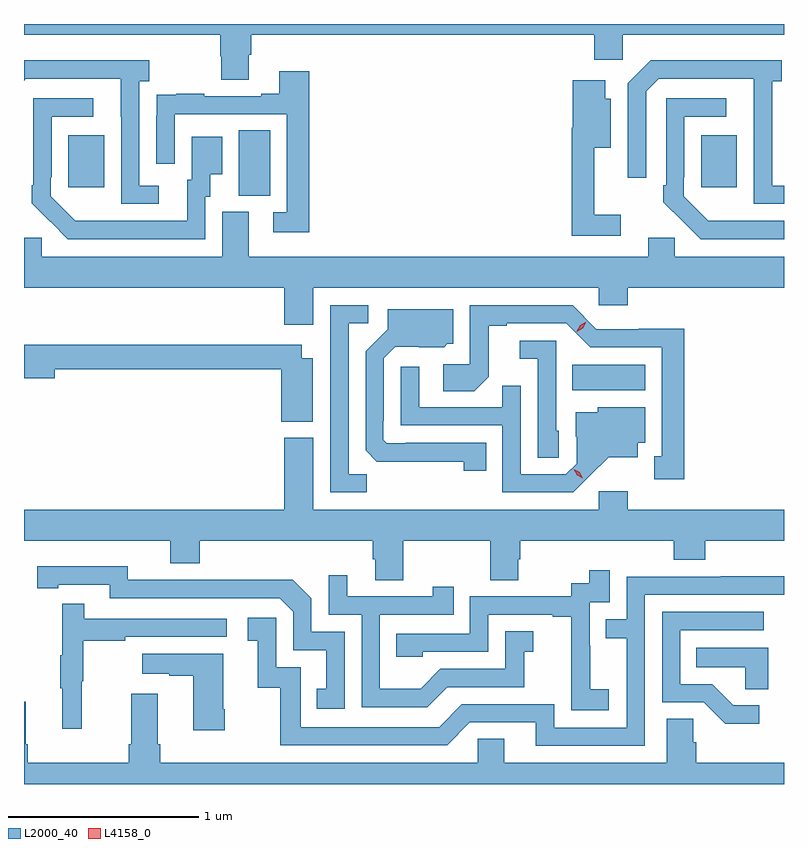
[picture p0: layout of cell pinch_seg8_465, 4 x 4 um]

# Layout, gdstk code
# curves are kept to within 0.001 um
import gdstk
lib = gdstk.Library(unit=1e-6, precision=1e-09)
def R(c, l, rs):  # rectangles x0, y0, x1, y1
    for r in rs: c.add(gdstk.rectangle(r[:2], r[2:], *l))
def P(c, l, *ps):  # polygons
    for p in ps: c.add(gdstk.Polygon(p, *l))
L2000_40 = (2000, 40)
L4158_0 = (4158, 0)

pinch_seg8_465 = lib.new_cell('pinch_seg8_465')
R(pinch_seg8_465, L2000_40, [(115.612,1127.948,115.996,1128.082), (113.858,1128.973,114.022,1129.316), (112.961,1129.017,113.149,1129.291), (116.291,1129.017,116.479,1129.291)])
P(pinch_seg8_465, L2000_40, [(113.911,1129.714),(113.924,1129.714),(113.924,1129.82),(115.727,1129.82),(115.727,1129.689),(115.878,1129.689),(115.878,1129.82),(116.727,1129.82),(116.727,1129.876),(112.727,1129.876),(112.727,1129.82),(113.759,1129.82),(113.759,1129.707),(113.764,1129.707),(113.764,1129.582),(113.911,1129.582)],
  [(113.437,1129.026),(113.334,1129.026),(113.334,1129.574),(113.386,1129.574),(113.386,1129.684),(112.727,1129.684),(112.727,1129.577),(112.737,1129.587),(113.237,1129.587),(113.238,1128.93),(113.437,1128.93)],
  [(116.727,1129.026),(116.664,1129.026),(116.664,1129.574),(116.716,1129.574),(116.716,1129.684),(116.026,1129.684),(115.905,1129.563),(115.905,1129.068),(116.001,1129.068),(116.001,1129.521),(116.067,1129.587),(116.567,1129.587),(116.568,1128.93),(116.727,1128.93)],
  [(114.227,1129.627),(114.071,1129.627),(114.071,1129.51),(113.975,1129.51),(113.975,1129.497),(113.675,1129.497),(113.675,1129.51),(113.527,1129.51),(113.527,1129.503),(113.425,1129.503),(113.425,1129.394),(113.424,1129.394),(113.424,1129.14),(113.52,1129.14),(113.52,1129.401),(114.111,1129.401),(114.111,1128.885),(114.039,1128.885),(114.039,1128.78),(114.227,1128.78)],
  [(115.867,1128.871),(115.727,1128.871),(115.727,1129.226),(115.816,1129.226),(115.816,1129.483),(115.786,1129.483),(115.786,1129.579),(115.616,1129.579),(115.616,1129.33),(115.609,1129.33),(115.609,1128.762),(115.867,1128.762)],
  [(113.682,1128.966),(113.707,1128.966),(113.707,1129.085),(113.77,1129.085),(113.77,1129.282),(113.609,1129.282),(113.609,1129.056),(113.585,1129.056),(113.585,1128.84),(112.998,1128.841),(112.869,1128.969),(112.869,1129.069),(112.872,1129.069),(112.872,1129.389),(113.092,1129.389),(113.092,1129.485),(112.776,1129.485),(112.776,1129.027),(112.769,1129.027),(112.769,1128.932),(112.866,1128.834),(112.867,1128.835),(112.958,1128.744),(113.682,1128.744)],
  [(116.727,1128.84),(116.328,1128.841),(116.199,1128.969),(116.199,1129.069),(116.202,1129.069),(116.202,1129.389),(116.422,1129.389),(116.422,1129.485),(116.106,1129.485),(116.106,1129.027),(116.091,1129.027),(116.091,1128.939),(116.288,1128.744),(116.727,1128.744)],
  [(114.25,1128.488),(115.752,1128.488),(115.752,1128.395),(115.904,1128.395),(115.904,1128.488),(116.727,1128.488),(116.727,1128.652),(116.151,1128.652),(116.151,1128.75),(116.012,1128.75),(116.012,1128.652),(113.911,1128.652),(113.911,1128.888),(113.771,1128.888),(113.771,1128.652),(112.821,1128.652),(112.821,1128.75),(112.727,1128.75),(112.727,1128.488),(114.098,1128.488),(114.098,1128.294),(114.25,1128.294)],
  [(116.203,1128.272),(115.962,1128.272),(115.962,1128.27),(115.74,1128.27),(115.614,1128.396),(115.074,1128.396),(115.074,1128.084),(114.933,1128.084),(114.933,1127.944),(115.097,1127.944),(115.173,1128.02),(115.173,1128.288),(115.267,1128.288),(115.267,1128.3),(115.581,1128.3),(115.707,1128.174),(116.084,1128.174),(116.084,1127.601),(116.045,1127.601),(116.045,1127.481),(116.203,1127.481)],
  [(114.531,1127.507),(114.435,1127.507),(114.435,1128.3),(114.538,1128.3),(114.538,1128.396),(114.339,1128.396),(114.339,1127.412),(114.531,1127.412)],
  [(115.16,1127.673),(114.736,1127.673),(114.736,1127.67),(114.636,1127.67),(114.618,1127.688),(114.618,1127.788),(114.621,1127.788),(114.621,1128.117),(114.681,1128.177),(114.938,1128.176),(114.954,1128.192),(114.985,1128.192),(114.985,1128.376),(114.641,1128.376),(114.641,1128.27),(114.525,1128.154),(114.525,1127.632),(114.584,1127.573),(115.042,1127.572),(115.042,1127.526),(115.16,1127.526)],
  [(115.542,1127.736),(115.527,1127.736),(115.527,1128.21),(115.335,1128.21),(115.335,1128.113),(115.431,1128.113),(115.431,1127.593),(115.542,1127.593)],
  [(114.247,1128.118),(114.19,1128.118),(114.19,1128.187),(112.727,1128.187),(112.727,1128.011),(112.888,1128.011),(112.888,1128.058),(114.08,1128.058),(114.08,1127.783),(114.247,1127.783)],
  [(115.702,1127.495),(115.805,1127.597),(115.957,1127.597),(115.957,1127.673),(115.996,1127.673),(115.996,1127.86),(115.746,1127.86),(115.746,1127.833),(115.631,1127.833),(115.631,1127.704),(115.635,1127.704),(115.635,1127.562),(115.578,1127.505),(115.341,1127.505),(115.341,1127.972),(115.243,1127.972),(115.243,1127.859),(114.807,1127.859),(114.807,1128.073),(114.711,1128.073),(114.711,1127.763),(115.245,1127.763),(115.245,1127.412),(115.618,1127.412)],
  [(114.723,1127.156),(115.18,1127.156),(115.18,1126.948),(115.327,1126.948),(115.327,1127.058),(115.34,1127.058),(115.34,1127.156),(116.147,1127.156),(116.147,1127.057),(116.312,1127.057),(116.312,1127.156),(116.727,1127.156),(116.727,1127.32),(115.904,1127.32),(115.904,1127.416),(115.752,1127.416),(115.752,1127.32),(114.25,1127.32),(114.25,1127.698),(114.098,1127.698),(114.098,1127.32),(112.727,1127.32),(112.727,1127.156),(113.498,1127.156),(113.498,1127.039),(113.651,1127.039),(113.651,1127.156),(114.563,1127.156),(114.563,1127.058),(114.575,1127.058),(114.575,1126.948),(114.723,1126.948)],
  [(114.414,1126.677),(114.24,1126.677),(114.24,1126.854),(114.142,1126.952),(113.734,1126.952),(113.734,1126.95),(113.274,1126.95),(113.274,1127.023),(112.798,1127.022),(112.798,1126.906),(112.906,1126.906),(112.906,1126.926),(113.178,1126.926),(113.178,1126.854),(114.072,1126.854),(114.144,1126.782),(114.144,1126.581),(114.317,1126.581),(114.317,1126.377),(114.268,1126.377),(114.268,1126.272),(114.414,1126.272)],
  [(115.804,1126.375),(115.706,1126.375),(115.706,1126.604),(115.704,1126.604),(115.704,1126.833),(115.809,1126.833),(115.809,1127.002),(115.701,1127.002),(115.701,1126.932),(115.608,1126.932),(115.608,1126.863),(115.074,1126.863),(115.074,1126.668),(114.685,1126.668),(114.685,1126.545),(114.825,1126.545),(114.825,1126.572),(115.17,1126.572),(115.17,1126.767),(115.511,1126.767),(115.511,1126.755),(115.607,1126.755),(115.607,1126.471),(115.606,1126.471),(115.606,1126.265),(115.804,1126.265)],
  [(114.955,1126.386),(115.359,1126.386),(115.359,1126.571),(115.408,1126.571),(115.408,1126.681),(115.26,1126.681),(115.26,1126.482),(114.918,1126.482),(114.814,1126.378),(114.6,1126.378),(114.6,1126.767),(114.989,1126.767),(114.989,1126.915),(114.878,1126.915),(114.878,1126.863),(114.427,1126.863),(114.427,1126.975),(114.33,1126.975),(114.33,1126.767),(114.504,1126.767),(114.504,1126.281),(114.85,1126.281)],
  [(115.995,1126.872),(116.727,1126.872),(116.727,1126.97),(116.395,1126.97),(116.395,1126.968),(115.899,1126.968),(115.899,1126.743),(115.789,1126.743),(115.789,1126.642),(115.899,1126.642),(115.899,1126.173),(115.518,1126.173),(115.518,1126.296),(115.032,1126.296),(114.912,1126.176),(114.183,1126.176),(114.183,1126.491),(114.054,1126.491),(114.054,1126.75),(113.904,1126.75),(113.904,1126.629),(113.957,1126.629),(113.957,1126.383),(114.075,1126.383),(114.075,1126.08),(114.954,1126.08),(115.074,1126.2),(115.421,1126.2),(115.421,1126.077),(115.995,1126.077)],
  [(113.03,1126.416),(113.038,1126.416),(113.038,1126.63),(113.261,1126.63),(113.261,1126.65),(113.794,1126.65),(113.794,1126.746),(113.045,1126.746),(113.045,1126.825),(112.928,1126.825),(112.928,1126.553),(112.917,1126.553),(112.917,1126.379),(112.928,1126.379),(112.928,1126.167),(113.03,1126.167)],
  [(116.596,1126.29),(116.461,1126.29),(116.35,1126.401),(116.181,1126.401),(116.181,1126.686),(116.62,1126.686),(116.62,1126.782),(116.085,1126.782),(116.085,1126.305),(116.304,1126.305),(116.417,1126.193),(116.596,1126.193)],
  [(116.644,1126.594),(116.266,1126.594),(116.266,1126.49),(116.523,1126.49),(116.523,1126.375),(116.644,1126.375)],
  [(113.784,1126.27),(113.776,1126.27),(113.776,1126.561),(113.349,1126.561),(113.349,1126.457),(113.492,1126.457),(113.492,1126.447),(113.618,1126.447),(113.618,1126.158),(113.784,1126.158)],
  [(116.727,1125.988),(116.264,1125.988),(116.264,1126.097),(116.25,1126.097),(116.25,1126.22),(116.111,1126.22),(116.111,1125.988),(115.255,1125.988),(115.255,1126.115),(115.116,1126.115),(115.116,1125.988),(113.444,1125.988),(113.444,1126.084),(113.431,1126.084),(113.431,1126.351),(113.291,1126.351),(113.291,1126.084),(113.279,1126.084),(113.279,1125.988),(112.748,1125.988),(112.748,1126.084),(112.735,1126.084),(112.735,1126.309),(112.727,1126.309),(112.727,1125.876),(116.727,1125.876)])
P(pinch_seg8_465, L4158_0, [(115.637,1128.257),(115.637,1128.258),(115.654,1128.29),(115.686,1128.309),(115.686,1128.309),(115.686,1128.309),(115.669,1128.276),(115.637,1128.257)],
  [(115.668,1127.486),(115.638,1127.502),(115.62,1127.532),(115.62,1127.532),(115.621,1127.532),(115.651,1127.516),(115.669,1127.486),(115.669,1127.486)])

lib.write_gds('pinch_seg8_465.gds')
